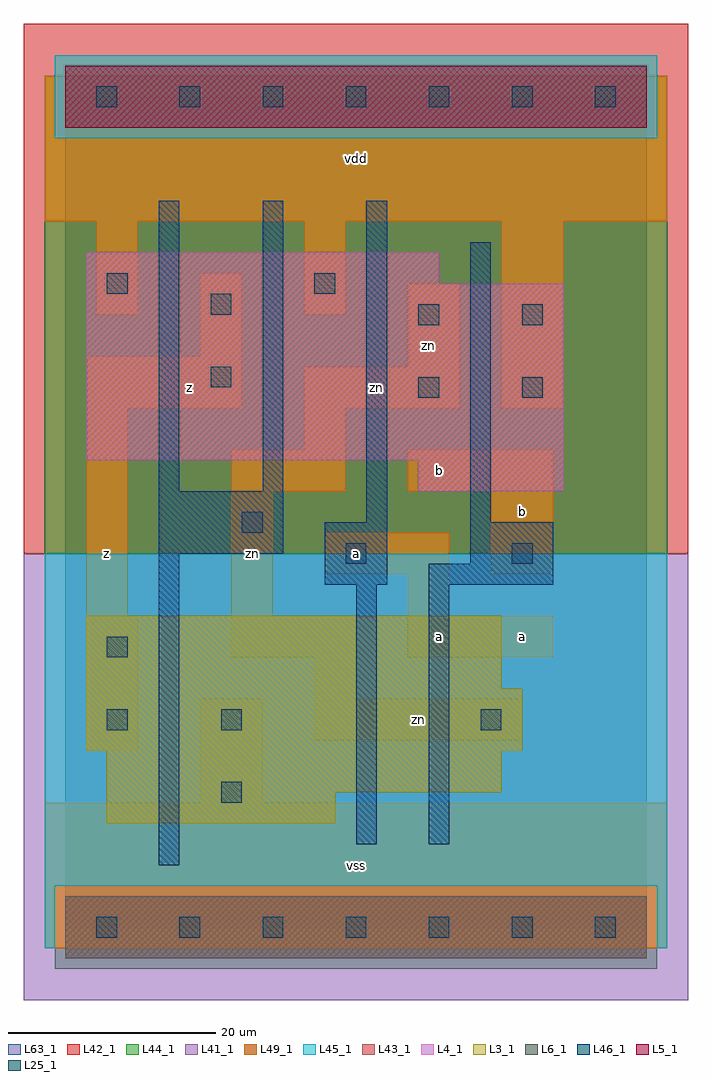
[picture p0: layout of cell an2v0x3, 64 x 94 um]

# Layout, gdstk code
import gdstk
lib = gdstk.Library(unit=1e-6, precision=1e-09)
def R(c, l, rs):  # rectangles x0, y0, x1, y1
    for r in rs: c.add(gdstk.rectangle(r[:2], r[2:], *l))
def A(c, l, x, y, w, h, nx, ny, dx, dy):  # array of equal rectangles
    R(c, l, [(x+i*dx, y+j*dy, x+i*dx+w, y+j*dy+h) for i in range(nx) for j in range(ny)])
L3_1 = (3, 1)
L4_1 = (4, 1)
L5_1 = (5, 1)
L6_1 = (6, 1)
L25_1 = (25, 1)
L41_1 = (41, 1)
L42_1 = (42, 1)
L43_1 = (43, 1)
L44_1 = (44, 1)
L45_1 = (45, 1)
L46_1 = (46, 1)
L49_1 = (49, 1)
L63_1 = (63, 1)

an2v0x3 = lib.new_cell('an2v0x3')
R(an2v0x3, L3_1, [(4,10,26,13), (4,13,42,17), (2,17,44,23), (2,23,42,30)])
R(an2v0x3, L4_1, [(34,42,48,45), (2,45,48,62), (2,62,36,65)])
R(an2v0x3, L5_1, [(0,77,56,83)])
R(an2v0x3, L6_1, [(0,-3,56,3), (0,-3,56,3)])
A(an2v0x3, L25_1, 3, -1, 2, 2, 7, 2, 8, 80)
R(an2v0x3, L25_1, [(15,12,17,14), (4,19,6,21), (15,19,17,21), (40,19,42,21), (4,26,6,28), (27,35,29,37), (43,35,45,37), (17,38,19,40), (34,51,36,53), (44,51,46,53), (14,52,16,54), (34,58,36,60), (44,58,46,60), (14,59,16,61), (4,61,6,63), (24,61,26,63)])
R(an2v0x3, L41_1, [(-4,-7,60,36)])
R(an2v0x3, L42_1, [(-4,36,60,87)])
R(an2v0x3, L43_1, [(0,-3,56,3), (4,10,26,13), (4,13,42,17), (2,17,44,23), (2,23,42,30), (34,42,48,45), (2,45,48,62), (2,62,36,65), (0,77,56,83)])
R(an2v0x3, L44_1, [(-1,-4,57,4), (-2,36,58,76), (-2,76,-1,82), (57,76,58,82)])
R(an2v0x3, L45_1, [(-2,-2,-1,4), (57,-2,58,4), (-2,4,58,36), (-1,76,57,84)])
R(an2v0x3, L46_1, [(9,6,11,36), (28,8,30,33), (35,8,37,33), (25,33,31,39), (35,33,47,35), (39,35,47,39), (9,36,21,42), (29,39,31,70), (39,39,41,66), (9,42,11,70), (19,42,21,70)])
R(an2v0x3, L49_1, [(-2,-2,58,12), (13,12,19,22), (2,17,7,30), (24,18,44,22), (24,22,28,26), (16,26,28,30), (33,26,47,30), (2,30,6,50), (16,30,20,42), (33,30,37,34), (25,34,37,38), (41,34,47,42), (16,42,27,46), (33,42,47,46), (23,46,27,50), (2,50,17,55), (23,50,38,54), (42,50,48,68), (33,54,38,62), (13,55,17,63), (3,59,7,68), (23,59,27,68), (-2,68,58,82)])
R(an2v0x3, L63_1, [(0,0,56,80)])
an2v0x3.add(gdstk.Label('z', (4,36), layer=49, texttype=1))
an2v0x3.add(gdstk.Label('zn', (18,36), layer=49, texttype=1))
an2v0x3.add(gdstk.Label('z', (12,52), layer=49, texttype=1))
an2v0x3.add(gdstk.Label('vss', (28,6), layer=49, texttype=1))
an2v0x3.add(gdstk.Label('a', (28,36), layer=49, texttype=1))
an2v0x3.add(gdstk.Label('a', (36,28), layer=49, texttype=1))
an2v0x3.add(gdstk.Label('b', (36,44), layer=49, texttype=1))
an2v0x3.add(gdstk.Label('zn', (30,52), layer=49, texttype=1))
an2v0x3.add(gdstk.Label('zn', (35,56), layer=49, texttype=1))
an2v0x3.add(gdstk.Label('vdd', (28,74), layer=49, texttype=1))
an2v0x3.add(gdstk.Label('zn', (34,20), layer=49, texttype=1))
an2v0x3.add(gdstk.Label('a', (44,28), layer=49, texttype=1))
an2v0x3.add(gdstk.Label('b', (44,40), layer=49, texttype=1))

lib.write_gds('an2v0x3.gds')
